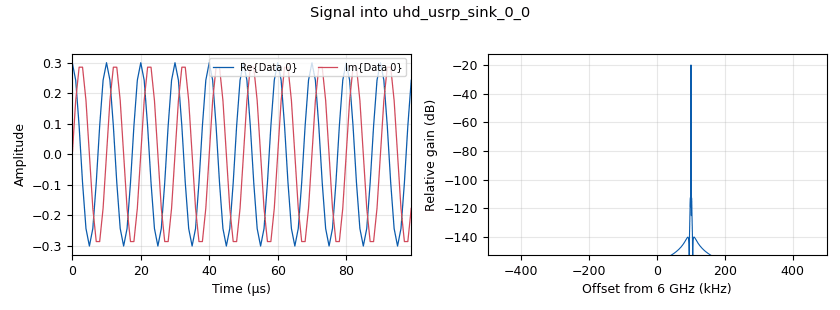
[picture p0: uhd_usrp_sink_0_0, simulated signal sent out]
options:
  parameters:
    category: Custom
    description: USRP timed burst TX (sine) + RX monitor (OTA)
    generate_options: qt_gui
    id: usrp_sine_burst
    output_language: python
    title: USRP TX/RX (Sine Burst)
  states: {}

blocks:
- name: RX_gain
  id: variable_qtgui_range
  parameters:
    gui_hint: 0,1,1,1
    label: rx_gain
    start: '0'
    step: '1'
    stop: '40'
    value: '20'
  states: {}
- name: TX_gain
  id: variable_qtgui_range
  parameters:
    gui_hint: 0,0,1,1
    label: tx_gain
    start: '0'
    step: '1'
    stop: '40'
    value: '20'
  states: {}
- name: burst_ms
  id: variable
  parameters:
    value: '100'
  states: {}
- name: idle_ms
  id: variable
  parameters:
    value: '400'
  states: {}
- name: samp_rate
  id: variable
  parameters:
    value: 1e6
  states: {}
- name: tone_freq
  id: variable
  parameters:
    value: 100e3
  states: {}
- name: tx_amp
  id: variable
  parameters:
    value: '0.3'
  states: {}
- name: address
  id: parameter
  parameters:
    label: UHD dev args
    type: str
    value: '"type=x4xx,mgmt_addr=192.168.1.100,addr=192.168.10.2"'
  states: {}
- name: blocks_tag_debug_0
  id: blocks_tag_debug
  parameters:
    filter: ''
    name: '""'
    type: complex
  states: {}
- name: freq
  id: parameter
  parameters:
    label: Default Frequency
    short_id: f
    type: eng_float
    value: 6.0e9
  states: {}
- name: qtgui_freq_sink_x_0
  id: qtgui_freq_sink_x
  parameters:
    bw: samp_rate
    fc: '0'
    fftsize: '1024'
    label: RX Spectrum
    label1: RX
    name: RX Freq
    type: complex
    ymin: '-120'
  states: {}
- name: qtgui_time_sink_x_0
  id: qtgui_time_sink_x
  parameters:
    label1: RX
    name: RX Time
    size: '1024'
    srate: samp_rate
    type: complex
  states: {}
- name: sine_burst_source
  id: epy_block
  parameters:
    _source_code: |
      """
      Embedded Python Block: Style 1 USRP burst source (sine wave)

      Generates periodic complex sinusoid bursts with UHD stream tags:
        tx_sob, tx_time, tx_eob  (Style 1; USRP Sink len_tag_name must be empty)
      """

      from __future__ import annotations

      import time

      import numpy as np
      import pmt
      from gnuradio import gr

      _TAG_SOB = pmt.intern("tx_sob")
      _TAG_EOB = pmt.intern("tx_eob")
      _TAG_TIME = pmt.intern("tx_time")


      class blk(gr.basic_block):
          """Style 1 timed burst source outputting a complex sinusoid."""

          def __init__(
              self,
              samp_rate=1e6,
              tone_freq=100e3,
              burst_ms=100.0,
              idle_ms=400.0,
              tx_amp=0.3,
              time_lead_s=0.05,
          ):
              gr.basic_block.__init__(
                  self,
                  name="Sine Burst Source",
                  in_sig=[],
                  out_sig=[np.complex64],
              )
              self._samp_rate = float(samp_rate)
              self._tone_freq = float(tone_freq)
              self._burst_ms = float(burst_ms)
              self._idle_ms = float(idle_ms)
              self._tx_amp = float(tx_amp)
              self._time_lead_s = float(time_lead_s)
              self._phase_inc = 2.0 * np.pi * self._tone_freq / self._samp_rate
              self._burst_len = max(1, int(self._samp_rate * self._burst_ms / 1000.0))
              self._idle_s = max(0.0, self._idle_ms / 1000.0)

              self._burst_active = False
              self._burst_idx = 0
              self._next_burst_at = 0.0

              self.set_tag_propagation_policy(gr.TPP_DONT)
              self.set_min_output_buffer(self._burst_len * 2)

          def _recompute_timing(self) -> None:
              self._phase_inc = 2.0 * np.pi * self._tone_freq / self._samp_rate
              self._burst_len = max(1, int(self._samp_rate * self._burst_ms / 1000.0))
              self._idle_s = max(0.0, self._idle_ms / 1000.0)
              self.set_min_output_buffer(self._burst_len * 2)

          @property
          def samp_rate(self):
              return self._samp_rate

          @samp_rate.setter
          def samp_rate(self, value):
              self._samp_rate = float(value)
              self._recompute_timing()

          @property
          def tone_freq(self):
              return self._tone_freq

          @tone_freq.setter
          def tone_freq(self, value):
              self._tone_freq = float(value)
              self._recompute_timing()

          @property
          def burst_ms(self):
              return self._burst_ms

          @burst_ms.setter
          def burst_ms(self, value):
              self._burst_ms = float(value)
              self._recompute_timing()

          @property
          def idle_ms(self):
              return self._idle_ms

          @idle_ms.setter
          def idle_ms(self, value):
              self._idle_ms = float(value)
              self._recompute_timing()

          @property
          def tx_amp(self):
              return self._tx_amp

          @tx_amp.setter
          def tx_amp(self, value):
              self._tx_amp = float(value)

          @property
          def time_lead_s(self):
              return self._time_lead_s

          @time_lead_s.setter
          def time_lead_s(self, value):
              self._time_lead_s = float(value)

          def forecast(self, noutput_items, ninput_items):
              del noutput_items, ninput_items
              return []

          def _schedule_delay_s(self) -> float:
              burst_s = self._burst_len / self._samp_rate
              period_s = max(self._idle_s + burst_s, burst_s)
              return max(0.0, period_s - burst_s)

          def _tx_time_pmt(self):
              t = time.time() + self._time_lead_s
              sec = int(t)
              frac = t - sec
              return pmt.make_tuple(pmt.from_uint64(sec), pmt.from_double(frac))

          def general_work(self, input_items, output_items):
              del input_items
              out = output_items[0]

              if not self._burst_active:
                  if time.monotonic() < self._next_burst_at:
                      return 0
                  self._burst_active = True
                  self._burst_idx = 0

              n_remain = self._burst_len - self._burst_idx
              n = min(len(out), n_remain)
              if n <= 0:
                  return 0

              idx = np.arange(self._burst_idx, self._burst_idx + n, dtype=np.float64)
              phase = self._phase_inc * idx
              out[:n] = (self._tx_amp * (np.cos(phase) + 1j * np.sin(phase))).astype(
                  np.complex64, copy=False
              )

              abs_out = self.nitems_written(0)
              if self._burst_idx == 0:
                  self.add_item_tag(0, abs_out, _TAG_SOB, pmt.PMT_T)
                  self.add_item_tag(0, abs_out, _TAG_TIME, self._tx_time_pmt())

              self._burst_idx += n
              if self._burst_idx >= self._burst_len:
                  self.add_item_tag(0, abs_out + n - 1, _TAG_EOB, pmt.PMT_T)
                  self._burst_active = False
                  self._next_burst_at = time.monotonic() + self._schedule_delay_s()

              return n
    burst_ms: burst_ms
    comment: Sine burst source (tx_sob/tx_time/tx_eob)
    idle_ms: idle_ms
    samp_rate: samp_rate
    time_lead_s: '0.05'
    tone_freq: tone_freq
    tx_amp: tx_amp
  states: {}
- name: uhd_usrp_sink_0_0
  id: uhd_usrp_sink
  parameters:
    ant0: '"TX/RX"'
    center_freq0: freq
    clock_rate: '0'
    dev_addr: address
    dev_args: '""'
    gain0: TX_gain
    len_tag_name: ''
    samp_rate: samp_rate
    stream_chans: '[0]'
    sync: pc_clock
    type: fc32
  states: {}
- name: uhd_usrp_source_0_0
  id: uhd_usrp_source
  parameters:
    ant0: '"RX1"'
    center_freq0: freq
    clock_rate: '0'
    dev_addr: address
    dev_args: '""'
    gain0: RX_gain
    minoutbuf: '262144'
    samp_rate: samp_rate
    stream_args: num_recv_frames=512,recv_buff_size=25000000
    stream_chans: '[2]'
    sync: pc_clock
    type: fc32
  states: {}

connections:
- [sine_burst_source, '0', blocks_tag_debug_0, '0']
- [sine_burst_source, '0', uhd_usrp_sink_0_0, '0']
- [uhd_usrp_source_0_0, '0', qtgui_freq_sink_x_0, '0']
- [uhd_usrp_source_0_0, '0', qtgui_time_sink_x_0, '0']

metadata:
  file_format: 1
  grc_version: 3.10.12.0
